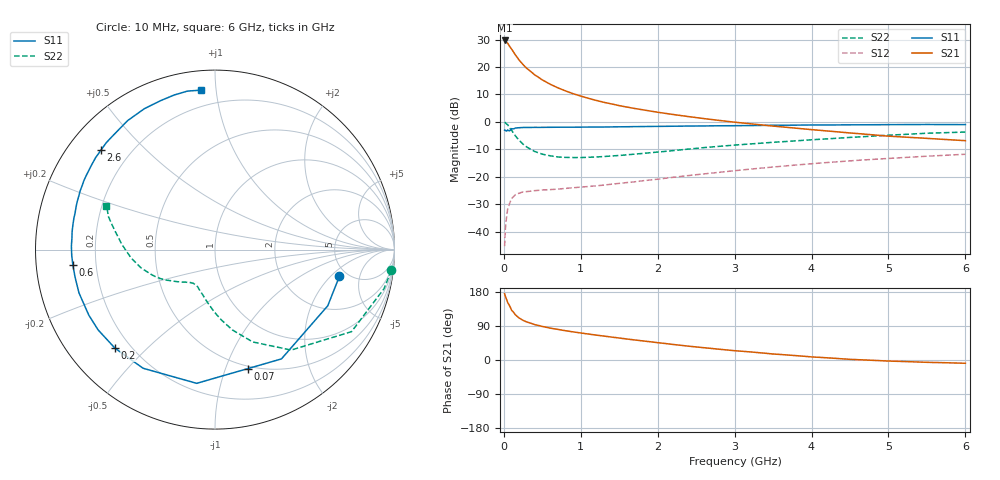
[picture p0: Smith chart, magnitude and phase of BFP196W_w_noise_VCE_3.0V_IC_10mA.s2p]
! Infineon Technologies  Discrete & RF Semiconductors
! BFP196W
! VCE =  3.0 V,  IC =  10 mA
! Common Emitter S-Parameters:  Jan 2017
# GHz  S  MA  R  50
!  f  S11  S21  S12  S22
! GHz  MAG  ANG  MAG  ANG  MAG  ANG  MAG  ANG
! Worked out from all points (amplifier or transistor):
!   77 points, 10 MHz to 6 GHz, reference 50 ohm
!   highest |S21| = 29.7 dB at 10 MHz (marker M1)
!   |S21| within 3 dB of that: start of sweep to 96.61 MHz
!   unconditionally stable (mu >= 1): 1.243 GHz to 3.264 GHz
!   at 130 MHz: K = 0.15, MSG = 26.2 dB, |S12| = -27.2 dB
!   at 2.2 GHz: K = 1.09, MAG = 9.6 dB, |S12| = -20.2 dB
!   at 6 GHz: K = 0.91, MSG = 2.5 dB, |S12| = -11.8 dB
!   lowest NFmin = 0.91 dB at 450 MHz
!   S11 on the Smith chart (normalised r, x): 10 MHz: 4.26, -2.57; 70 MHz: 0.47, -1.20; 200 MHz: 0.14, -0.40; 600 MHz: 0.11, -0.05; 2.6 GHz: 0.10, +0.37; 6 GHz: 0.10, +0.91
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0.01  0.7089 -12.2  30.58 174.9  0.0054 84.3  0.9893 -6.7
0.02  0.7019 -26.5  29.88 168.0  0.0111 82.2  0.9668 -13.0
0.05  0.7127 -58.7  27.2 151.7  0.0258 63.9  0.8875 -31.0
0.07  0.6878 -74.7  24.52 144.8  0.0311 55.3  0.8 -38.5
0.1  0.7521 -97.8  21.34 131.6  0.0399 46.9  0.7021 -52.9
0.15  0.773 -121.2  16.68 119.2  0.0469 37.0  0.5556 -67.8
0.2  0.7825 -135.4  13.36 110.7  0.0501 31.1  0.4595 -77.6
0.25  0.7901 -145.5  11.09 104.6  0.0528 28.1  0.3923 -85.0
0.3  0.7923 -152.5  9.411 100.2  0.0535 25.8  0.3456 -90.9
0.4  0.7953 -162.3  7.23 93.4  0.0556 24.8  0.2887 -99.6
0.5  0.7946 -168.8  5.83 88.5  0.0573 25.0  0.2577 -106.0
0.6  0.7965 -173.7  4.888 84.3  0.0581 25.6  0.2408 -111.0
0.7  0.7989 -177.7  4.194 80.8  0.0593 26.6  0.229 -114.8
0.8  0.8003 178.7  3.681 77.3  0.0611 29.0  0.225 -117.6
1.1  0.8036 170.1  2.689 68.5  0.0662 33.4  0.2262 -124.6
1.5  0.813 160.8  1.981 58.0  0.0755 38.6  0.2438 -132.0
2.1  0.8298 148.0  1.43 43.5  0.0937 44.7  0.29 -142.7
2.6  0.8432 138.9  1.148 32.4  0.1124 46.8  0.339 -151.1
3.1  0.854 130.4  0.956 23.0  0.1329 46.5  0.386 -159.7
4.1  0.8783 115.3  0.703 7.0  0.1768 42.4  0.4804 -176.5
5.1  0.8914 103.8  0.539 -3.4  0.2194 35.5  0.5806 167.6
6  0.892 95.0  0.454 -8.6  0.2566 28.3  0.6525 157.9
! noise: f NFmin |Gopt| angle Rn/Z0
0.45  0.91  0.36  146  0.06
0.9  1.19  0.53  168  0.05
1.9  2.27  0.71  -158  0.1
2.4  2.77  0.76  -149  0.22
